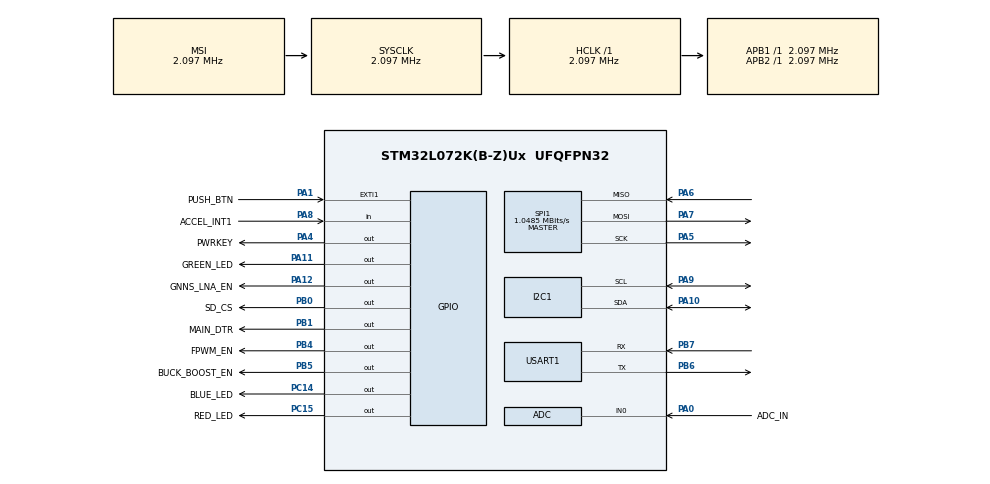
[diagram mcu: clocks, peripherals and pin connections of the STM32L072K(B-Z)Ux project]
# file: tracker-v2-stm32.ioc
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Dma.Request0=USART1_RX
Dma.USART1_RX.0.Direction=DMA_PERIPH_TO_MEMORY
Dma.USART1_RX.0.Instance=DMA1_Channel3
Dma.USART1_RX.0.MemDataAlignment=DMA_MDATAALIGN_BYTE
Dma.USART1_RX.0.MemInc=DMA_MINC_ENABLE
Dma.USART1_RX.0.Mode=DMA_NORMAL
Dma.USART1_RX.0.PeriphDataAlignment=DMA_PDATAALIGN_BYTE
Dma.USART1_RX.0.PeriphInc=DMA_PINC_DISABLE
Dma.USART1_RX.0.Priority=DMA_PRIORITY_HIGH
FATFS._MAX_SS=2048
FATFS._USE_LFN=1
Mcu.Family=STM32L0
Mcu.Name=STM32L072K(B-Z)Ux
Mcu.Package=UFQFPN32
NVIC.DMA1_Channel2_3_IRQn=true\:0\:0\:false\:false\:true\:false\:true\:true
NVIC.EXTI0_1_IRQn=true\:0\:0\:false\:false\:true\:true\:true\:true
NVIC.TIM6_DAC_IRQn=true\:0\:0\:false\:false\:true\:true\:true\:true
PA0.GPIO_Label=ADC_IN
PA0.Mode=IN0
PA0.Signal=ADC_IN0
PA1.GPIO_Label=PUSH_BTN
PA1.GPIO_ModeDefaultEXTI=GPIO_MODE_IT_RISING_FALLING
PA1.GPIO_PuPd=GPIO_PULLUP
PA1.Signal=GPXTI1
PA10.Mode=I2C
PA10.Signal=I2C1_SDA
PA11.GPIO_Label=GREEN_LED
PA11.Signal=GPIO_Output
PA12.GPIO_Label=GNNS_LNA_EN
PA12.Signal=GPIO_Output
PA13.Mode=Serial_Wire
PA13.Signal=SYS_SWDIO
PA14.Mode=Serial_Wire
PA14.Signal=SYS_SWCLK
PA4.GPIO_Label=PWRKEY
PA4.Signal=GPIO_Output
PA5.Mode=Full_Duplex_Master
PA5.Signal=SPI1_SCK
PA6.Mode=Full_Duplex_Master
PA6.Signal=SPI1_MISO
PA7.Mode=Full_Duplex_Master
PA7.Signal=SPI1_MOSI
PA8.GPIO_Label=ACCEL_INT1
PA8.Signal=GPIO_Input
PA9.Mode=I2C
PA9.Signal=I2C1_SCL
PB0.GPIO_Label=SD_CS
PB0.Signal=GPIO_Output
PB1.GPIO_Label=MAIN_DTR
PB1.Signal=GPIO_Output
PB4.GPIO_Label=FPWM_EN
PB4.Signal=GPIO_Output
PB5.GPIO_Label=BUCK_BOOST_EN
PB5.Signal=GPIO_Output
PB6.Mode=Asynchronous
PB6.Signal=USART1_TX
PB7.Mode=Asynchronous
PB7.Signal=USART1_RX
PC14-OSC32_IN.GPIO_Label=BLUE_LED
PC14-OSC32_IN.Signal=GPIO_Output
PC15-OSC32_OUT.GPIO_Label=RED_LED
PC15-OSC32_OUT.Signal=GPIO_Output
ProjectManager.HeapSize=0x200
ProjectManager.StackSize=0x400
ProjectManager.TargetToolchain=STM32CubeIDE
RCC.AHBFreq_Value=2097000
RCC.APB1Freq_Value=2097000
RCC.APB1TimFreq_Value=2097000
RCC.APB2Freq_Value=2097000
RCC.APB2TimFreq_Value=2097000
RCC.HCLKFreq_Value=2097000
RCC.HSI16_VALUE=16000000
RCC.HSI48_VALUE=48000000
RCC.HSI_VALUE=16000000
RCC.LSE_VALUE=32768
RCC.MSI_VALUE=2097000
RCC.SYSCLKFreq_VALUE=2097000
RCC.VCOOutputFreq_Value=48000000
SPI1.CalculateBaudRate=1.0485 MBits/s
SPI1.Direction=SPI_DIRECTION_2LINES
SPI1.Mode=SPI_MODE_MASTER
SPI1.VirtualType=VM_MASTER
TIM6.AutoReloadPreload=TIM_AUTORELOAD_PRELOAD_ENABLE
TIM6.Period=20970
TIM6.Prescaler=100
USART1.VirtualMode-Asynchronous=VM_ASYNC
VP_FATFS_VS_Generic.Mode=User_defined
VP_TIM6_VS_ClockSourceINT.Mode=Enable_Timer
board=custom

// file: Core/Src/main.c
/* USER CODE BEGIN Header */
/**
  ******************************************************************************
  * @file           : main.c
  * @brief          : Main program body
  ******************************************************************************
  * @attention
  *
  * Copyright (c) 2024 STMicroelectronics.
  * All rights reserved.
  *
  * This software is licensed under terms that can be found in the LICENSE file
  * in the root directory of this software component.
  * If no LICENSE file comes with this software, it is provided AS-IS.
  *
  ******************************************************************************
  */
/* USER CODE END Header */
#include "main.h"
#include "fatfs.h"

/* USER CODE BEGIN Includes */
#include <stdio.h>
#include <string.h>
#include <stdbool.h>

#include "utils.h"
/* USER CODE END Includes */

/* USER CODE BEGIN PTD */
typedef struct  {
 char EET_Time[9];
 char date[11];
 char NS, EW;
 char latitude[12], longitude[12];
} DataPacket;

typedef enum {
    NO_PRESS,
    SINGLE_PRESS,
    LONG_PRESS
} ButtonEvent;
/* USER CODE END PTD */

/* USER CODE BEGIN PD */
#define DEVICE_ID 1
#define EVENT_ID 1
#define AUTHORIZATION_TOKEN "KPOm4KIpIQHwh0Q7xdFo9Hh0ijO6nKnb"
#define DATA_SEND_PERIOD 120 // max 120 seconds

#define CMD_MAX_LEN 200
#define DATA_BUF_MAX_LEN 5500

#define UART_TIMEOUT 10
/* USER CODE END PD */

ADC_HandleTypeDef hadc;

I2C_HandleTypeDef hi2c1;

SPI_HandleTypeDef hspi1;

TIM_HandleTypeDef htim6;

UART_HandleTypeDef huart1;
DMA_HandleTypeDef hdma_usart1_rx;

/* USER CODE BEGIN PV */
uint8_t buf[BUF_MAX_LEN] = {0};
static char url[50] = "http://vps1953.redfoxcloud.com/api/dataPackets";
static char cmd[CMD_MAX_LEN] = {0};

static uint8_t send_ready = 0;
static uint8_t send_done = 1;
static uint8_t gnss_data_ready = 0;

static uint8_t satNum = 0;
static uint8_t dp_idx = 0; // data packets index
static DataPacket data_packets[DATA_SEND_PERIOD];
static char data[DATA_BUF_MAX_LEN] = {0};

// Push button variables
static const uint32_t DEBOUNCE_MILLIS = 20;
static const uint32_t LONG_MILLIS_MIN = 3000;
static const uint32_t LONG_MILLIS_MAX = 10000;

static uint32_t last_up_ts = 0;
static uint32_t last_down_ts = 0;
static ButtonEvent btn_event = NO_PRESS;

// STOP mode flags
static bool enter_stop_mode = false;
static bool exit_stop_mode = false;

//SD Card driver variables
FATFS FatFs; // Fatfs handle
FIL fil; // File handle
FRESULT fres; // Result after operations
/* USER CODE END PV */

void SystemClock_Config(void);
static void MX_GPIO_Init(void);
static void MX_DMA_Init(void);
static void MX_ADC_Init(void);
static void MX_I2C1_Init(void);
static void MX_SPI1_Init(void);
static void MX_USART1_UART_Init(void);
static void MX_TIM6_Init(void);

/* USER CODE BEGIN 0 */

void HAL_GPIO_EXTI_Callback(uint16_t GPIO_Pin)
{
 if (GPIO_Pin == PUSH_BTN_Pin) {
   if (enter_stop_mode) {
     SystemClock_Config();
     HAL_ResumeTick();
     enter_stop_mode = false;
     exit_stop_mode  = true;
     return;
   }

   uint32_t now = HAL_GetTick();
   if (HAL_GPIO_ReadPin(PUSH_BTN_GPIO_Port, PUSH_BTN_Pin) == GPIO_PIN_RESET) {
     last_down_ts = now;
   }
   else {
     last_up_ts = now;

     uint32_t diff = last_up_ts - last_down_ts;
     if (diff > DEBOUNCE_MILLIS) { // Handle debounce

       if (diff < LONG_MILLIS_MIN) {
         btn_event = SINGLE_PRESS;
       }
       else if (diff > LONG_MILLIS_MIN && diff < LONG_MILLIS_MAX) {
         btn_event = LONG_PRESS;
       }
       else {
         btn_event = NO_PRESS;
       }
     }
   }
 }
}

void HAL_TIM_PeriodElapsedCallback(TIM_HandleTypeDef * htim)
{
  if (htim == &htim6 && send_done == 1 && gnss_data_ready == 0) {
    // Repeating every 1s
    gnss_data_ready = 1;
  }
}

void appendDataBuf(uint8_t idx, bool append_last)
{
  strcat((char*)data, (char*)buf);

  if (idx == dp_idx && append_last) { // if last item
    strcat((char*)data, "&");
  } else if (idx != dp_idx) {
    strcat((char*)data, ";");
  }
}

void init()
{
  //Init accelerometer
  LIS2DW12_Init();

  // Mount SD Card
  fres = f_mount(&FatFs, "", 1); // 1=mount now
  if (fres != FR_OK) { // No SD Card found
    BLINK_LED(RED_LED_GPIO_Port, RED_LED_Pin, 3, 200);
  }

  // Set HTTP URL
  sprintf(cmd, "AT+QHTTPURL=%d\r\n", strlen(url));
  bool set_url_ok = send_at_connect_cmd(cmd, url, NULL, NULL, 5);
  // Configure GNSS Constellations (GPS + Galileo)
  bool gnss_config_ok = send_at_cmd("AT+QGPSCFG=\"gnssconfig\",3\r\n");

  //Setup GNSS XTRA
  bool en_xtra_ok = send_at_cmd("AT+QGPSXTRA=1\r\n");
  bool en_xtra_auto_dwnld_ok = send_at_cmd("AT+QGPSCFG=\"xtra_autodownload\",1\r\n");

  // Turn on GNSS
  bool gnss_on_ok = send_at_cmd("AT+QGPS=1\r\n");

  if (en_xtra_ok && en_xtra_auto_dwnld_ok && set_url_ok && gnss_config_ok && gnss_on_ok) {
    BLINK_LED(GREEN_LED_GPIO_Port, GREEN_LED_Pin, 3, 100);
  }
  else {
    BLINK_LED(RED_LED_GPIO_Port, RED_LED_Pin, 3, 100);
  }
}

void add_packet_to_sd_card()
{
  float accelerometerData[3];
  LIS2DW12_ReadXYZ(accelerometerData);
  float vbat = getBatteryVoltage();

  sprintf(
      (char *)buf,
      "%s %s,%.6f,%.6f,%.3f,%.2f,%.2f,%.2f,%d\n",
      data_packets[dp_idx].date,
      data_packets[dp_idx].EET_Time,
      convertToDecimalDegrees(data_packets[dp_idx].latitude, data_packets[dp_idx].NS),
      convertToDecimalDegrees(data_packets[dp_idx].longitude, data_packets[dp_idx].EW),
      vbat,
      accelerometerData[0],
      accelerometerData[1],
      accelerometerData[2],
      satNum
  );

  //Open the file
  fres = f_open(&fil, "packets.txt", FA_OPEN_APPEND | FA_WRITE);
  if (fres != FR_OK) { //File creation/open Error
    BLINK_LED(RED_LED_GPIO_Port, RED_LED_Pin, 1, 200);
    return;
  }
  else {
    // write backup to sd card
    f_puts((char*)buf, &fil);
    f_close(&fil);
  }
}

void send_data()
{
  send_done = 0;
  send_ready = 0;
  send_at_cmd("AT+QGPSCFG=\"priority\",1\r\n"); // Set WWAN priority
  HAL_Delay(150);

  // Fill data
  sprintf(
      (char *)data,
      "authorizationToken=%s&"
      "eventId=%d&"
      "deviceId=%d&"
      "dataPacketsAmount=%d&",
      AUTHORIZATION_TOKEN,
      EVENT_ID,
      DEVICE_ID,
      dp_idx+1
  );

  strcat(data, "latitudes=");
  for (uint8_t i = 0; i < dp_idx+1; i++) {
    sprintf((char *)buf, "%.6f", convertToDecimalDegrees(data_packets[i].latitude, data_packets[i].NS));
    appendDataBuf(i, true);
  }

  strcat(data, "longitudes=");
  for (uint8_t i = 0; i < dp_idx+1; i++) {
    sprintf((char *)buf, "%.6f", convertToDecimalDegrees(data_packets[i].longitude, data_packets[i].EW));
    appendDataBuf(i, true);
  }

  strcat(data, "dates=");
  for (uint8_t i = 0; i < dp_idx+1; i++) {
    sprintf((char *)buf, "%s %s", data_packets[i].date, data_packets[i].EET_Time);
    appendDataBuf(i, false);
  }

  // Send HTTP POST
  sprintf(cmd, "AT+QHTTPPOST=%d\r\n", strlen(data));
  if (send_at_connect_cmd(cmd, data, "+QHTTPPOST:", "+QHTTPPOST: 0,200", 1)) {
    BLINK_LED(BLUE_LED_GPIO_Port, BLUE_LED_Pin, 2, 100);
  }
  else {
    BLINK_LED(RED_LED_GPIO_Port, RED_LED_Pin, 2, 100);
  }

  send_at_cmd("AT+QGPSCFG=\"priority\",0\r\n"); // Set GNSS priority
  dp_idx = 0;
  send_done = 1;
}

uint8_t parse_gnss_data()
{
  uint8_t err_code = 5; // unknown

  if (strstrn((char *)buf, "ERROR", BUF_MAX_LEN) != NULL) {
    err_code = 1; // waiting for position fix
  }
  else if (strstrn((char *)buf, "QGPSLOC", BUF_MAX_LEN) != NULL) {
    err_code = 0;
    // Start parsing GNSS data
    uint16_t skip = 0;
    while (buf[skip] != ' ') {
      if (skip+1 >= BUF_MAX_LEN) break;
      skip++;
    }

    if (skip+10 != BUF_MAX_LEN) {
      char *token = NULL;
      char *delimiter = "\r\n";
      token = strtok((char*)buf+skip+1, delimiter);
      if (token != 0) {
        char *token2;
        token2 = strtok(token, ","); //First token is UTC time
        for (uint8_t i = 1; i < 14; i++) { //last item we need has 13th index
          switch(i) {
          case 1: /* UTC time */
            convertUTCtoEET(token2, data_packets[dp_idx].EET_Time);
            break;
          case 2: /* Raw latitude */
            strcpy(data_packets[dp_idx].latitude, token2);
            break;
          case 3: /* N/S */
            data_packets[dp_idx].NS = (char) token2[0];
            break;
          case 4: /* Raw longtitude */
            strcpy(data_packets[dp_idx].longitude, token2);
            break;
          case 5: /* E/W */
            data_packets[dp_idx].EW = (char) token2[0];
            break;
          case 12: /* date */
            formatDate(token2, data_packets[dp_idx].date);
            break;
          case 13: /* Number of satellites */
            satNum = (uint8_t) strtol(token2, NULL, 10);
            break;
          }
          token2 = strtok(NULL, ",");
        }

        if (strcmp(data_packets[dp_idx].date, "0000-00-00") == 0 ||
            strcmp(data_packets[dp_idx].EET_Time, "00:00:00") == 0 ||
            valid_number(data_packets[dp_idx].latitude) == 0 ||
            valid_number(data_packets[dp_idx].longitude) == 0 ||
            convertToDecimalDegrees(data_packets[dp_idx].latitude, data_packets[dp_idx].NS) == 0.f ||
            convertToDecimalDegrees(data_packets[dp_idx].longitude, data_packets[dp_idx].EW) == 0.f ||
            satNum == 0) {
          err_code = 2; // invalid data packet
        }
      }
      else {
        err_code = 3; // parsing error: strtok failed by \r\n
      }
    }
    else {
      err_code = 4; // parsing error: didn't find space char in buffer
    }
  }

  return err_code;
}

/* USER CODE END 0 */

int main(void)
{

  /* MCU Configuration--------------------------------------------------------*/

  /* Reset of all peripherals, Initializes the Flash interface and the Systick. */
  HAL_Init();

  /* Configure the system clock */
  SystemClock_Config();

  /* Initialize all configured peripherals */
  MX_GPIO_Init();
  MX_DMA_Init();
  MX_ADC_Init();
  MX_I2C1_Init();
  MX_SPI1_Init();
  MX_USART1_UART_Init();
  MX_TIM6_Init();
  MX_FATFS_Init();
  /* USER CODE BEGIN 2 */
  RED_LED_OFF();
  GREEN_LED_OFF();
  BLUE_LED_OFF();
  module_power_up();
  init();
  HAL_TIM_Base_Start_IT(&htim6);
  /* USER CODE END 2 */

  /* Infinite loop */
  while (1)
  {

    /* USER CODE BEGIN 3 */
    if (exit_stop_mode) {
      module_power_up();
      init();
      exit_stop_mode = false;
    }
    switch(btn_event) {
      case NO_PRESS:
        break;
      case SINGLE_PRESS:
        float vbat = getBatteryVoltage();
        if (vbat > 3.85f) BLINK_LED(GREEN_LED_GPIO_Port, GREEN_LED_Pin, 3, 100);
        else if (vbat > 3.55f) BLINK_LED(GREEN_LED_GPIO_Port, GREEN_LED_Pin, 2, 100);
        else if (vbat > 3.2f) BLINK_LED(GREEN_LED_GPIO_Port, GREEN_LED_Pin, 1, 100);
        else BLINK_LED(RED_LED_GPIO_Port, RED_LED_Pin, 1, 100);
        btn_event = NO_PRESS;
        break;
      case LONG_PRESS:
        BLINK_LED(RED_LED_GPIO_Port, RED_LED_Pin, 1, 1000);
        if (dp_idx > 0) {
          --dp_idx;
          send_data();
        }
        module_power_down();
        f_mount(NULL, "", 0); // de-mount SD card
        HAL_SuspendTick();
        enter_stop_mode = true;
        btn_event = NO_PRESS;
        HAL_PWR_EnterSTOPMode(PWR_LOWPOWERREGULATOR_ON, PWR_STOPENTRY_WFI);
        break;
    }

    if (gnss_data_ready == 1) {
      memset(buf, 0, sizeof(buf));
      sprintf(cmd, "AT+QGPSLOC=1\r\n");
      HAL_UART_Transmit(&huart1, (uint8_t*)cmd, strlen(cmd), 100);
      HAL_UART_Receive_DMA(&huart1, buf, BUF_MAX_LEN);
      HAL_Delay(100);

      uint8_t err_code = parse_gnss_data();
      if (err_code == 0) {
        add_packet_to_sd_card();

        if (dp_idx+1 >= DATA_SEND_PERIOD) {
          send_ready = 1;
        }
        else {
          ++dp_idx;
        }
      }

      if (err_code == 0 || err_code == 1) { // if success or waiting for position fix
        gnss_data_ready = 0;
      }

      if (err_code > 0) {
        BLINK_LED(RED_LED_GPIO_Port, RED_LED_Pin, 1, 100);
      }
    }

    if (send_ready == 1 && send_done == 1) {
      send_data();
    }
  }
  /* USER CODE END 3 */
}

void SystemClock_Config(void)
{
  RCC_OscInitTypeDef RCC_OscInitStruct = {0};
  RCC_ClkInitTypeDef RCC_ClkInitStruct = {0};
  RCC_PeriphCLKInitTypeDef PeriphClkInit = {0};

  /** Configure the main internal regulator output voltage
  */
  __HAL_PWR_VOLTAGESCALING_CONFIG(PWR_REGULATOR_VOLTAGE_SCALE1);

  /** Initializes the RCC Oscillators according to the specified parameters
  * in the RCC_OscInitTypeDef structure.
  */
  RCC_OscInitStruct.OscillatorType = RCC_OSCILLATORTYPE_MSI;
  RCC_OscInitStruct.MSIState = RCC_MSI_ON;
  RCC_OscInitStruct.MSICalibrationValue = 0;
  RCC_OscInitStruct.MSIClockRange = RCC_MSIRANGE_5;
  RCC_OscInitStruct.PLL.PLLState = RCC_PLL_NONE;
  if (HAL_RCC_OscConfig(&RCC_OscInitStruct) != HAL_OK)
  {
    Error_Handler();
  }

  /** Initializes the CPU, AHB and APB buses clocks
  */
  RCC_ClkInitStruct.ClockType = RCC_CLOCKTYPE_HCLK|RCC_CLOCKTYPE_SYSCLK
                              |RCC_CLOCKTYPE_PCLK1|RCC_CLOCKTYPE_PCLK2;
  RCC_ClkInitStruct.SYSCLKSource = RCC_SYSCLKSOURCE_MSI;
  RCC_ClkInitStruct.AHBCLKDivider = RCC_SYSCLK_DIV1;
  RCC_ClkInitStruct.APB1CLKDivider = RCC_HCLK_DIV1;
  RCC_ClkInitStruct.APB2CLKDivider = RCC_HCLK_DIV1;

  if (HAL_RCC_ClockConfig(&RCC_ClkInitStruct, FLASH_LATENCY_0) != HAL_OK)
  {
    Error_Handler();
  }
  PeriphClkInit.PeriphClockSelection = RCC_PERIPHCLK_USART1|RCC_PERIPHCLK_I2C1;
  PeriphClkInit.Usart1ClockSelection = RCC_USART1CLKSOURCE_PCLK2;
  PeriphClkInit.I2c1ClockSelection = RCC_I2C1CLKSOURCE_PCLK1;
  if (HAL_RCCEx_PeriphCLKConfig(&PeriphClkInit) != HAL_OK)
  {
    Error_Handler();
  }
}

static void MX_ADC_Init(void)
{

  ADC_ChannelConfTypeDef sConfig = {0};

  /** Configure the global features of the ADC (Clock, Resolution, Data Alignment and number of conversion)
  */
  hadc.Instance = ADC1;
  hadc.Init.OversamplingMode = DISABLE;
  hadc.Init.ClockPrescaler = ADC_CLOCK_SYNC_PCLK_DIV1;
  hadc.Init.Resolution = ADC_RESOLUTION_12B;
  hadc.Init.SamplingTime = ADC_SAMPLETIME_1CYCLE_5;
  hadc.Init.ScanConvMode = ADC_SCAN_DIRECTION_FORWARD;
  hadc.Init.DataAlign = ADC_DATAALIGN_RIGHT;
  hadc.Init.ContinuousConvMode = DISABLE;
  hadc.Init.DiscontinuousConvMode = DISABLE;
  hadc.Init.ExternalTrigConvEdge = ADC_EXTERNALTRIGCONVEDGE_NONE;
  hadc.Init.ExternalTrigConv = ADC_SOFTWARE_START;
  hadc.Init.DMAContinuousRequests = DISABLE;
  hadc.Init.EOCSelection = ADC_EOC_SINGLE_CONV;
  hadc.Init.Overrun = ADC_OVR_DATA_PRESERVED;
  hadc.Init.LowPowerAutoWait = DISABLE;
  hadc.Init.LowPowerFrequencyMode = ENABLE;
  hadc.Init.LowPowerAutoPowerOff = DISABLE;
  if (HAL_ADC_Init(&hadc) != HAL_OK)
  {
    Error_Handler();
  }

  /** Configure for the selected ADC regular channel to be converted.
  */
  sConfig.Channel = ADC_CHANNEL_0;
  sConfig.Rank = ADC_RANK_CHANNEL_NUMBER;
  if (HAL_ADC_ConfigChannel(&hadc, &sConfig) != HAL_OK)
  {
    Error_Handler();
  }

}

static void MX_I2C1_Init(void)
{

  hi2c1.Instance = I2C1;
  hi2c1.Init.Timing = 0x00000708;
  hi2c1.Init.OwnAddress1 = 0;
  hi2c1.Init.AddressingMode = I2C_ADDRESSINGMODE_7BIT;
  hi2c1.Init.DualAddressMode = I2C_DUALADDRESS_DISABLE;
  hi2c1.Init.OwnAddress2 = 0;
  hi2c1.Init.OwnAddress2Masks = I2C_OA2_NOMASK;
  hi2c1.Init.GeneralCallMode = I2C_GENERALCALL_DISABLE;
  hi2c1.Init.NoStretchMode = I2C_NOSTRETCH_DISABLE;
  if (HAL_I2C_Init(&hi2c1) != HAL_OK)
  {
    Error_Handler();
  }

  /** Configure Analogue filter
  */
  if (HAL_I2CEx_ConfigAnalogFilter(&hi2c1, I2C_ANALOGFILTER_ENABLE) != HAL_OK)
  {
    Error_Handler();
  }

  /** Configure Digital filter
  */
  if (HAL_I2CEx_ConfigDigitalFilter(&hi2c1, 0) != HAL_OK)
  {
    Error_Handler();
  }

}

static void MX_SPI1_Init(void)
{

  /* SPI1 parameter configuration*/
  hspi1.Instance = SPI1;
  hspi1.Init.Mode = SPI_MODE_MASTER;
  hspi1.Init.Direction = SPI_DIRECTION_2LINES;
  hspi1.Init.DataSize = SPI_DATASIZE_8BIT;
  hspi1.Init.CLKPolarity = SPI_POLARITY_LOW;
  hspi1.Init.CLKPhase = SPI_PHASE_1EDGE;
  hspi1.Init.NSS = SPI_NSS_SOFT;
  hspi1.Init.BaudRatePrescaler = SPI_BAUDRATEPRESCALER_2;
  hspi1.Init.FirstBit = SPI_FIRSTBIT_MSB;
  hspi1.Init.TIMode = SPI_TIMODE_DISABLE;
  hspi1.Init.CRCCalculation = SPI_CRCCALCULATION_DISABLE;
  hspi1.Init.CRCPolynomial = 7;
  if (HAL_SPI_Init(&hspi1) != HAL_OK)
  {
    Error_Handler();
  }

}

static void MX_TIM6_Init(void)
{

  TIM_MasterConfigTypeDef sMasterConfig = {0};

  htim6.Instance = TIM6;
  htim6.Init.Prescaler = 100;
  htim6.Init.CounterMode = TIM_COUNTERMODE_UP;
  htim6.Init.Period = 20970;
  htim6.Init.AutoReloadPreload = TIM_AUTORELOAD_PRELOAD_ENABLE;
  if (HAL_TIM_Base_Init(&htim6) != HAL_OK)
  {
    Error_Handler();
  }
  sMasterConfig.MasterOutputTrigger = TIM_TRGO_RESET;
  sMasterConfig.MasterSlaveMode = TIM_MASTERSLAVEMODE_DISABLE;
  if (HAL_TIMEx_MasterConfigSynchronization(&htim6, &sMasterConfig) != HAL_OK)
  {
    Error_Handler();
  }

}

static void MX_USART1_UART_Init(void)
{

  huart1.Instance = USART1;
  huart1.Init.BaudRate = 115200;
  huart1.Init.WordLength = UART_WORDLENGTH_8B;
  huart1.Init.StopBits = UART_STOPBITS_1;
  huart1.Init.Parity = UART_PARITY_NONE;
  huart1.Init.Mode = UART_MODE_TX_RX;
  huart1.Init.HwFlowCtl = UART_HWCONTROL_NONE;
  huart1.Init.OverSampling = UART_OVERSAMPLING_16;
  huart1.Init.OneBitSampling = UART_ONE_BIT_SAMPLE_DISABLE;
  huart1.AdvancedInit.AdvFeatureInit = UART_ADVFEATURE_NO_INIT;
  if (HAL_UART_Init(&huart1) != HAL_OK)
  {
    Error_Handler();
  }

}

static void MX_DMA_Init(void)
{

  /* DMA controller clock enable */
  __HAL_RCC_DMA1_CLK_ENABLE();

  /* DMA interrupt init */
  /* DMA1_Channel2_3_IRQn interrupt configuration */
  HAL_NVIC_SetPriority(DMA1_Channel2_3_IRQn, 0, 0);
  HAL_NVIC_EnableIRQ(DMA1_Channel2_3_IRQn);

}

static void MX_GPIO_Init(void)
{
  GPIO_InitTypeDef GPIO_InitStruct = {0};

  /* GPIO Ports Clock Enable */
  __HAL_RCC_GPIOC_CLK_ENABLE();
  __HAL_RCC_GPIOA_CLK_ENABLE();
  __HAL_RCC_GPIOB_CLK_ENABLE();

  /*Configure GPIO pin Output Level */
  HAL_GPIO_WritePin(GPIOC, BLUE_LED_Pin|RED_LED_Pin, GPIO_PIN_RESET);

  /*Configure GPIO pin Output Level */
  HAL_GPIO_WritePin(GPIOA, PWRKEY_Pin|GREEN_LED_Pin|GNNS_LNA_EN_Pin, GPIO_PIN_RESET);

  /*Configure GPIO pin Output Level */
  HAL_GPIO_WritePin(GPIOB, SD_CS_Pin|MAIN_DTR_Pin|FPWM_EN_Pin|BUCK_BOOST_EN_Pin, GPIO_PIN_RESET);

  /*Configure GPIO pins : BLUE_LED_Pin RED_LED_Pin */
  GPIO_InitStruct.Pin = BLUE_LED_Pin|RED_LED_Pin;
  GPIO_InitStruct.Mode = GPIO_MODE_OUTPUT_PP;
  GPIO_InitStruct.Pull = GPIO_NOPULL;
  GPIO_InitStruct.Speed = GPIO_SPEED_FREQ_LOW;
  HAL_GPIO_Init(GPIOC, &GPIO_InitStruct);

  /*Configure GPIO pin : PUSH_BTN_Pin */
  GPIO_InitStruct.Pin = PUSH_BTN_Pin;
  GPIO_InitStruct.Mode = GPIO_MODE_IT_RISING_FALLING;
  GPIO_InitStruct.Pull = GPIO_PULLUP;
  HAL_GPIO_Init(PUSH_BTN_GPIO_Port, &GPIO_InitStruct);

  /*Configure GPIO pins : PWRKEY_Pin GREEN_LED_Pin GNNS_LNA_EN_Pin */
  GPIO_InitStruct.Pin = PWRKEY_Pin|GREEN_LED_Pin|GNNS_LNA_EN_Pin;
  GPIO_InitStruct.Mode = GPIO_MODE_OUTPUT_PP;
  GPIO_InitStruct.Pull = GPIO_NOPULL;
  GPIO_InitStruct.Speed = GPIO_SPEED_FREQ_LOW;
  HAL_GPIO_Init(GPIOA, &GPIO_InitStruct);

  /*Configure GPIO pins : SD_CS_Pin MAIN_DTR_Pin FPWM_EN_Pin BUCK_BOOST_EN_Pin */
  GPIO_InitStruct.Pin = SD_CS_Pin|MAIN_DTR_Pin|FPWM_EN_Pin|BUCK_BOOST_EN_Pin;
  GPIO_InitStruct.Mode = GPIO_MODE_OUTPUT_PP;
  GPIO_InitStruct.Pull = GPIO_NOPULL;
  GPIO_InitStruct.Speed = GPIO_SPEED_FREQ_LOW;
  HAL_GPIO_Init(GPIOB, &GPIO_InitStruct);

  /*Configure GPIO pin : ACCEL_INT1_Pin */
  GPIO_InitStruct.Pin = ACCEL_INT1_Pin;
  GPIO_InitStruct.Mode = GPIO_MODE_INPUT;
  GPIO_InitStruct.Pull = GPIO_NOPULL;
  HAL_GPIO_Init(ACCEL_INT1_GPIO_Port, &GPIO_InitStruct);

  /* EXTI interrupt init*/
  HAL_NVIC_SetPriority(EXTI0_1_IRQn, 0, 0);
  HAL_NVIC_EnableIRQ(EXTI0_1_IRQn);

}

void Error_Handler(void)
{
  __disable_irq();
  while (1)
  {
  }
}
